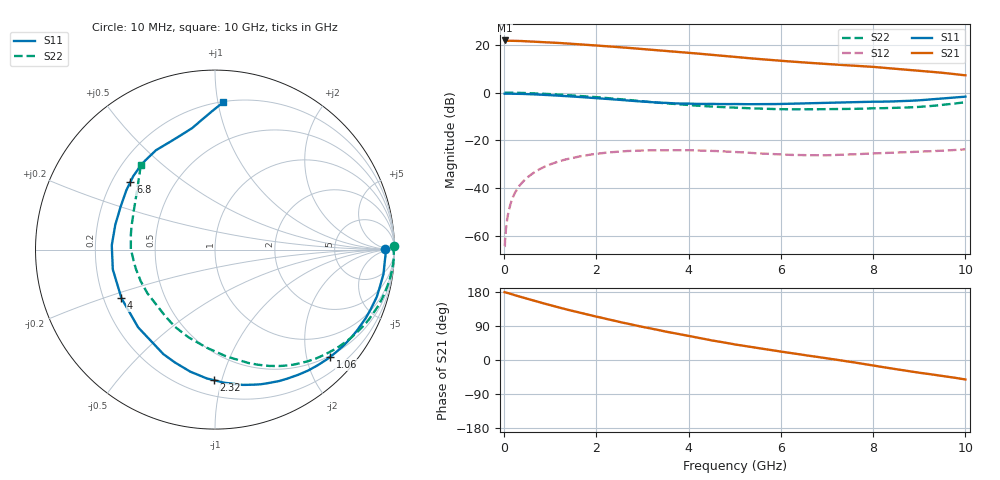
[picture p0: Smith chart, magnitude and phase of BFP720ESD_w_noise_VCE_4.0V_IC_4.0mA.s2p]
! Infineon Technologies  Discrete & RF Semiconductors
! BFP720ESD
! VCE =  4.0 V,  IC =  4.0 mA
! Common Emitter S-Parameters:  Jan 2016
# GHz  S  MA  R  50
!  f  S11  S21  S12  S22
! GHz  MAG  ANG  MAG  ANG  MAG  ANG  MAG  ANG
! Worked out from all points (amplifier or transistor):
!   233 points, 10 MHz to 10 GHz, reference 50 ohm
!   highest |S21| = 21.9 dB at 10 MHz (marker M1)
!   |S21| within 3 dB of that: start of sweep to 2.624 GHz
!   unconditionally stable (mu >= 1): start of sweep to 10.27 MHz; 5.993 GHz to 9.401 GHz
!   at 200 MHz: K = 0.08, MSG = 32.6 dB, |S12| = -43.5 dB
!   at 1.74 GHz: K = 0.24, MSG = 23.3 dB, |S12| = -26.4 dB
!   at 10 GHz: K = 0.69, MSG = 15.5 dB, |S12| = -23.8 dB
!   lowest NFmin = 0.53 dB at 450 MHz
!   S11 on the Smith chart (normalised r, x): 10 MHz: 37, +1; 1.06 GHz: 0.48, -2.47; 2.32 GHz: 0.31, -0.94; 4 GHz: 0.27, -0.23; 6.8 GHz: 0.28, +0.33; 10 GHz: 0.20, +1.04
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0.01  0.9479 0.1  12.41 178.9  0.0006 -5.5  0.995 1.1
0.02  0.9509 -0.5  12.22 178.6  0.0008 60.2  0.993 -0.3
0.08  0.9489 -3.2  12.21 176.7  0.0027 79.5  0.9966 -2.1
0.24  0.9456 -9.9  12.15 170.7  0.0081 80.7  0.9927 -6.7
0.36  0.9398 -14.8  12.08 166.5  0.012 77.9  0.9865 -10.1
0.62  0.9202 -25.3  11.78 157.2  0.0202 71.2  0.9676 -17.1
1.06  0.8767 -42.9  11.18 142.8  0.0329 59.8  0.9226 -28.7
1.38  0.84 -55.5  10.7 132.5  0.0406 51.7  0.8833 -36.8
1.68  0.8051 -66.9  10.23 123.6  0.0466 44.6  0.8446 -43.9
1.92  0.7772 -75.8  9.85 116.7  0.0508 39.5  0.8131 -49.5
2.32  0.7274 -90.5  9.237 105.6  0.0562 31.2  0.7569 -58.6
2.9  0.6582 -112.5  8.357 90.0  0.0609 20.0  0.6713 -71.5
3.4  0.6119 -130.9  7.61 77.7  0.0619 11.9  0.6075 -81.9
4  0.5874 -152.5  6.866 63.3  0.0619 4.0  0.5481 -94.9
4.5  0.58 -169.0  6.239 51.7  0.0601 -1.9  0.5101 -106.9
5.1  0.5731 175.3  5.496 39.3  0.0562 -6.5  0.4794 -119.1
6  0.5777 155.5  4.655 22.2  0.05 -8.4  0.4485 -136.7
6.8  0.6035 141.3  4.095 8.0  0.0485 -5.5  0.4476 -152.9
7.6  0.6303 128.3  3.668 -6.6  0.0508 -2.4  0.4564 -170.3
8.4  0.6512 112.2  3.208 -22.4  0.0547 -2.6  0.4763 169.7
9  0.689 100.6  2.871 -33.6  0.0577 -3.1  0.5017 154.4
10  0.822 86.8  2.303 -51.4  0.0645 -5.5  0.6277 131.2
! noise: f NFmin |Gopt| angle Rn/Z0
0.45  0.53  0.54  6  0.16
0.9  0.56  0.53  13  0.17
1.9  0.61  0.47  34  0.15
2.4  0.66  0.44  41  0.16
5.5  0.91  0.2  122  0.09
10  1.66  0.57  -100  0.41
